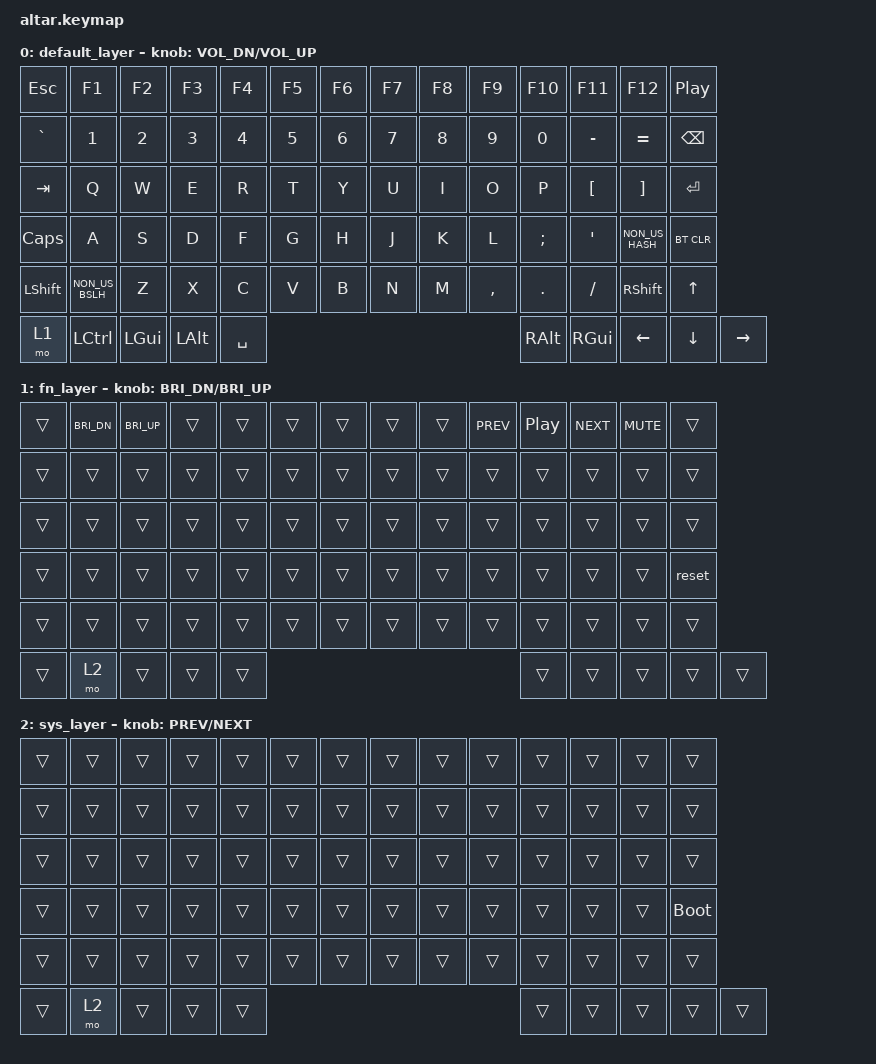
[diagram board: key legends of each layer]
/*
 * Copyright (c) 2021 The ZMK Contributors
 *
 * SPDX-License-Identifier: MIT
 */

#include <behaviors.dtsi>
#include <dt-bindings/zmk/keys.h>
#include <dt-bindings/zmk/bt.h>
#include <dt-bindings/zmk/outputs.h>

/ {
	keymap {
		compatible = "zmk,keymap";

		default_layer {
// -----------------------------------------------------------------------------------------
// | ESC   | F1    | F2    | F3    | F4    | F5    | F6    | F7    | F8    | F9    | F10   | F11   | F12   | P/P   |
// | ~     | 1     | 2     | 3     | 4     | 5     | 6     | 7     | 8     | 9     | 0     | -     |  =    | BSPC  |
// | TAB   | Q     | W     | E     | R     | T     | Y     | U     | I     | O     | P     | [     |  ]    | ENTER |
// | CAPS  | A     | S     | D     | F     | G     | H     | J     | K     | L     | ;     | '     | NUHS  | 	   |               PAIR |
// | SHIFT | NUBS  | Z     | X     | C     | V     | B     | N     | M     | ,     | .     | /     | SHFT  | UP    |
// | FN1   | CTRL  | WIN   | ALT   |                 SPACE                         | ALT   | WIN   | LFT   | DWN   | RGT   |

			bindings = <
	&kp ESC          &kp F1           &kp F2           &kp F3        &kp F4        &kp F5           &kp F6           &kp F7           &kp F8           &kp F9           &kp F10          &kp F11          &kp F12          &kp C_PLAY_PAUSE
	&kp GRAVE        &kp N1           &kp N2           &kp N3        &kp N4        &kp N5           &kp N6           &kp N7           &kp N8           &kp N9           &kp N0           &kp MINUS        &kp EQUAL        &kp BSPC
	&kp TAB          &kp Q            &kp W            &kp E         &kp R         &kp T            &kp Y            &kp U            &kp I            &kp O            &kp P            &kp LBKT         &kp RBKT         &kp RET
	&kp CAPS         &kp A            &kp S            &kp D         &kp F         &kp G            &kp H            &kp J            &kp K            &kp L            &kp SEMI         &kp SQT          &kp NON_US_HASH                                 &bt BT_CLR
	&kp LSHIFT       &kp NON_US_BSLH  &kp Z            &kp X         &kp C         &kp V            &kp B            &kp N            &kp M            &kp COMMA        &kp  DOT         &kp FSLH         &kp RSHIFT       &kp UP
    &mo 1            &kp LCTRL        &kp LGUI         &kp LALT                                     &kp SPACE                                                           &kp RALT         &kp RGUI         &kp LEFT         &kp DOWN         &kp RIGHT
			>;
			
			sensor-bindings = <&inc_dec_kp C_VOL_DN C_VOL_UP>;
		};

		fn_layer {
// -----------------------------------------------------------------------------------------
// |       | BRI_DN| BRI_UP|       |       |       |       |       |       | PREV  | P/P   | NEXT  | MUTE  |       |
// |       |       |       |       |       |       |       |       |       |       |       |       |       |       |
// |       |       |       |       |       |       |       |       |       |       |       |       |       |       |
// |       |       |       |       |       |       |       |       |       |       |       |       |       | 	   |              RESET |
// |       |       |       |       |       |       |       |       |       |       |       |       |       |       |
// |       | FN2   |       |       |                                               |       |       |       |       |       |

			bindings = <
	&trans           &kp C_BRI_DN     &kp C_BRI_UP     &trans        &trans        &trans           &trans           &trans           &trans           &kp C_PREV    &kp C_PLAY_PAUSE &kp C_NEXT       &kp C_MUTE       &trans
	&trans           &trans           &trans           &trans        &trans        &trans           &trans           &trans           &trans           &trans           &trans           &trans           &trans           &trans
	&trans           &trans           &trans           &trans        &trans        &trans           &trans           &trans           &trans           &trans           &trans           &trans           &trans           &trans
	&trans           &trans           &trans           &trans        &trans        &trans           &trans           &trans           &trans           &trans           &trans           &trans           &trans                                          &reset
	&trans           &trans           &trans           &trans        &trans        &trans           &trans           &trans           &trans           &trans           &trans           &trans           &trans           &trans
    &trans           &mo 2            &trans           &trans                                       &trans                                                              &trans           &trans           &trans           &trans           &trans
			>;

			sensor-bindings = <&inc_dec_kp C_BRI_DN C_BRI_UP>;
		};

				sys_layer {
// -----------------------------------------------------------------------------------------
// |       |       |       |       |       |       |       |       |       |       |       |       |       |       |
// |       |       |       |       |       |       |       |       |       |       |       |       |       |       |
// |       |       |       |       |       |       |       |       |       |       |       |       |       |       |
// |       |       |       |       |       |       |       |       |       |       |       |       |       | 	   |         BOOTLOADER |
// |       |       |       |       |       |       |       |       |       |       |       |       |       |       |
// |       |       |       |       |                                               |       |       |       |       |       |

			bindings = <
	&trans           &trans           &trans           &trans        &trans        &trans           &trans           &trans           &trans           &trans           &trans           &trans           &trans           &trans
	&trans           &trans           &trans           &trans        &trans        &trans           &trans           &trans           &trans           &trans           &trans           &trans           &trans           &trans
	&trans           &trans           &trans           &trans        &trans        &trans           &trans           &trans           &trans           &trans           &trans           &trans           &trans           &trans
	&trans           &trans           &trans           &trans        &trans        &trans           &trans           &trans           &trans           &trans           &trans           &trans           &trans                                          &bootloader
	&trans           &trans           &trans           &trans        &trans        &trans           &trans           &trans           &trans           &trans           &trans           &trans           &trans           &trans
    &trans           &mo 2            &trans           &trans                                       &trans                                                              &trans           &trans           &trans           &trans           &trans
			>;

			sensor-bindings =<&inc_dec_kp C_PREV C_NEXT>;
		};
	};
};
